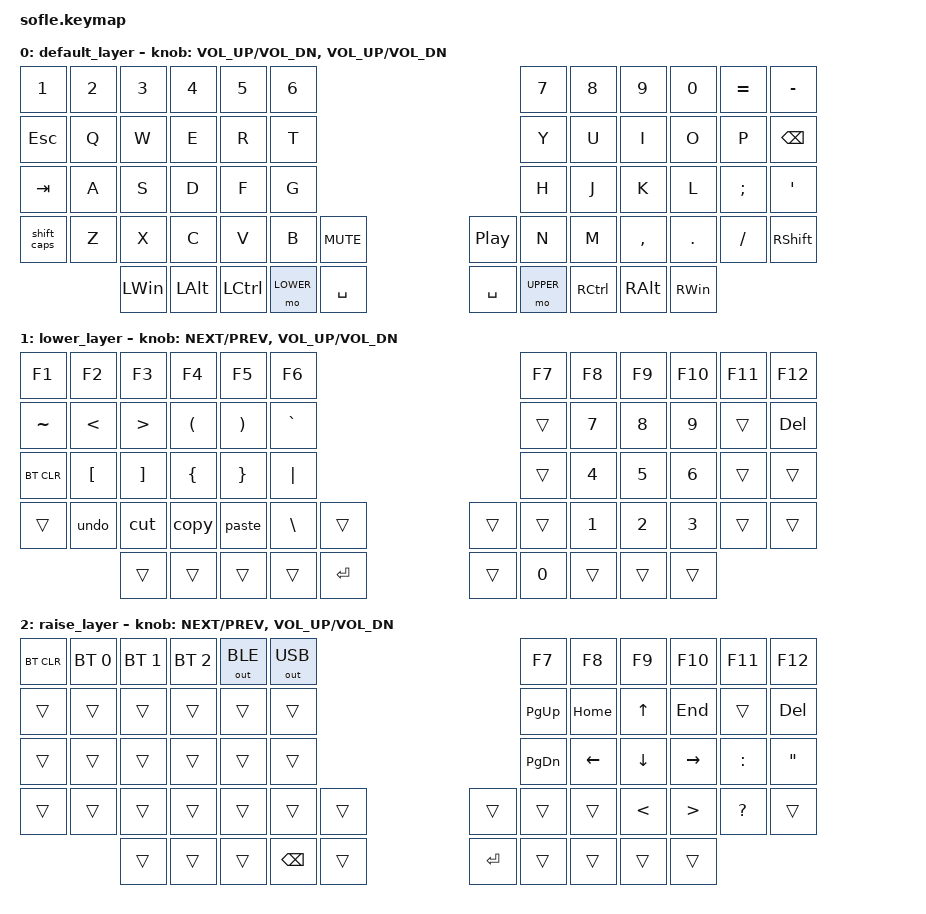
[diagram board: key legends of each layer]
#include <behaviors.dtsi>
#include <dt-bindings/zmk/keys.h>
#include <dt-bindings/zmk/bt.h>
#include <dt-bindings/zmk/outputs.h>

#define WIN 0
#define LOWER 1
#define UPPER 2

/* Behavior Settings */
&caps_word {
  continue-list = <UNDERSCORE MINUS BACKSPACE DELETE>;
};

/ {
    
    ZMK_MACRO(undo,
        wait-ms = <20>;
        tap-ms = <20>;
        bindings
        = <&macro_press &kp LCTRL>
        , <&macro_tap &kp Z>
        , <&macro_release &kp LCTRL>;) 

    ZMK_MACRO(cut,
        wait-ms = <20>;
        tap-ms = <20>;
        bindings
        = <&macro_press &kp LCTRL>
        , <&macro_tap &kp X>
        , <&macro_release &kp LCTRL>;) 

    ZMK_MACRO(copy,
        wait-ms = <20>;
        tap-ms = <20>;
        bindings
        = <&macro_press &kp LCTRL>
        , <&macro_tap &kp C>
        , <&macro_release &kp LCTRL>;)   
        
    ZMK_MACRO(paste,
        wait-ms = <20>;
        tap-ms = <20>;
        bindings
        = <&macro_press &kp LCTRL>
        , <&macro_tap &kp V>
        , <&macro_release &kp LCTRL>;)    

    behaviors {
        // double tapping shift engages caps words
        shift_caps: shift_caps {
            compatible = "zmk,behavior-tap-dance";
            label = "SHIFT_CAPS_0";
            #binding-cells = <0>;
            tapping-term-ms = <200>;
            bindings = <&kp LSHFT>, <&caps_word>;
        };
    };

    keymap {
        compatible = "zmk,keymap";

        default_layer {
// ------------------------------------------------------------------------------------------------------------
// |  1    |  2  |  3  |  4   |  5   |  6   |                   |  7   |  8    |  9    |  0   |   =   |   -   |
// |  ESC  |  Q  |  W  |  E   |  R   |  T   |                   |  Y   |  U    |  I    |  O   |   P   | BKSPC |
// |  TAB  |  A  |  S  |  D   |  F   |  G   |                   |  H   |  J    |  K    |  L   |   ;   |   '   |
// | SHIFT |  Z  |  X  |  C   |  V   |  B   |  MUTE  |  | Play  |  N   |  M    |  ,    |  .   |   /   | SHIFT |
//               | GUI | ALT  | CTRL | LOWER|  SPACE |  | SPACE | RAISE| CTRL  | ALT   | GUI  |
            bindings = <
&kp N1      &kp N2  &kp N3   &kp N4   &kp N5    &kp N6                                          &kp N7      &kp N8    &kp N9    &kp N0   &kp EQUAL &kp MINUS
&kp ESC     &kp Q   &kp W    &kp E    &kp R     &kp T                                           &kp Y       &kp U     &kp I     &kp O    &kp P     &kp BSPC
&kp TAB     &kp A   &kp S    &kp D    &kp F     &kp G                                           &kp H       &kp J     &kp K     &kp L    &kp SEMI  &kp SQT
&shift_caps &kp Z   &kp X    &kp C    &kp V     &kp B     &kp C_MUTE                  &kp C_PP  &kp N       &kp M     &kp COMMA &kp DOT  &kp FSLH  &kp RSHFT
                    &kp LWIN &kp LALT &kp LCTRL &mo LOWER &kp SPACE                   &kp SPACE &mo UPPER   &kp RCTRL &kp RALT  &kp RWIN
            >;

            sensor-bindings = <&inc_dec_kp C_VOL_UP C_VOL_DN &inc_dec_kp C_VOL_UP C_VOL_DN>;
        };

        lower_layer {
// TODO: Some binds are waiting for shifted keycode support.
// ------------------------------------------------------------------------------------------------------------
// |  F1   |  F2  |  F3  |   F4  |   F5  |  F6   |                   |  F7  |  F8   |  F9  |  F10  |  F11  |  F12  |
// |   `   |      |      |       |       |   6   |                   |      |  7    |  8   |  9    |       |       |
// |       |  !   |  @   |   #   |   $   |   %   |                   |      |  4    |  5   |  6    |       |       |
// |       | UNDO | CUT  | COPY  | PASTE |       |        |  |       |      |  1    |  2   |  3    |       |       |
//                |      |       |       |       |        |  |       |  0   |       |      |       |
            bindings = <
&kp F1    &kp F2    &kp F3    &kp F4      &kp F5      &kp F6                              &kp F7    &kp F8   &kp F9  &kp F10 &kp F11    &kp F12
&kp TILDE &kp LT    &kp GT    &kp LPAR    &kp RPAR    &kp GRAVE                           &trans    &kp N7   &kp N8  &kp N9  &trans     &kp DEL    
&bt BT_CLR &kp LBKT  &kp RBKT  &kp LBRC    &kp RBRC    &kp PIPE                            &trans    &kp N4   &kp N5  &kp N6  &trans     &trans
&trans    &undo     &cut      &copy       &paste      &kp BSLH  &trans            &trans  &trans    &kp N1   &kp N2  &kp N3  &trans     &trans
                    &trans    &trans      &trans      &trans    &kp ENTER         &trans  &kp N0    &trans   &trans  &trans
            >;

            sensor-bindings = <&inc_dec_kp K_NEXT K_PREV &inc_dec_kp C_VOL_UP C_VOL_DN>;
        };

        raise_layer {
// ------------------------------------------------------------------------------------------------------------
// |BTCLR| BT1  | BT2  | BT3   |  BLE  | USB  |                |      |      |       |      |       |       |
// |     | INS  | PSCR | GUI   |       |      |                | PGUP | HOME |   ^   |  END |       |       |
// |     | ALT  | CTRL | SHIFT |       | CAPS |                | PGDN |   <- |   v   |  ->  |       |       |
// |     | UNDO | CUT  | COPY  | PASTE |      |      |  |      |      |      |       |      |       |       |
//              |      |       |       |      |      |  |      |      |      |       |      |
            bindings = <
&bt BT_CLR &bt BT_SEL 0 &bt BT_SEL 1 &bt BT_SEL 2 &out OUT_BLE &out OUT_USB                   &kp F7    &kp F8    &kp F9   &kp F10   &kp F11    &kp F12
&trans     &trans       &trans       &trans       &trans       &trans                         &kp PG_UP &kp HOME  &kp UP   &kp END   &trans     &kp DEL
&trans     &trans       &trans       &trans       &trans       &trans                         &kp PG_DN &kp LEFT  &kp DOWN &kp RIGHT &kp COLON  &kp DQT
&trans     &trans       &trans       &trans       &trans       &trans   &trans      &trans    &trans    &trans    &kp LT   &kp GT    &kp QMARK  &trans
                        &trans       &trans       &trans       &kp BSPC &trans      &kp ENTER &trans  &trans    &trans   &trans
            >;

            sensor-bindings = <&inc_dec_kp K_NEXT K_PREV &inc_dec_kp C_VOL_UP C_VOL_DN>;
        };
    };
};
